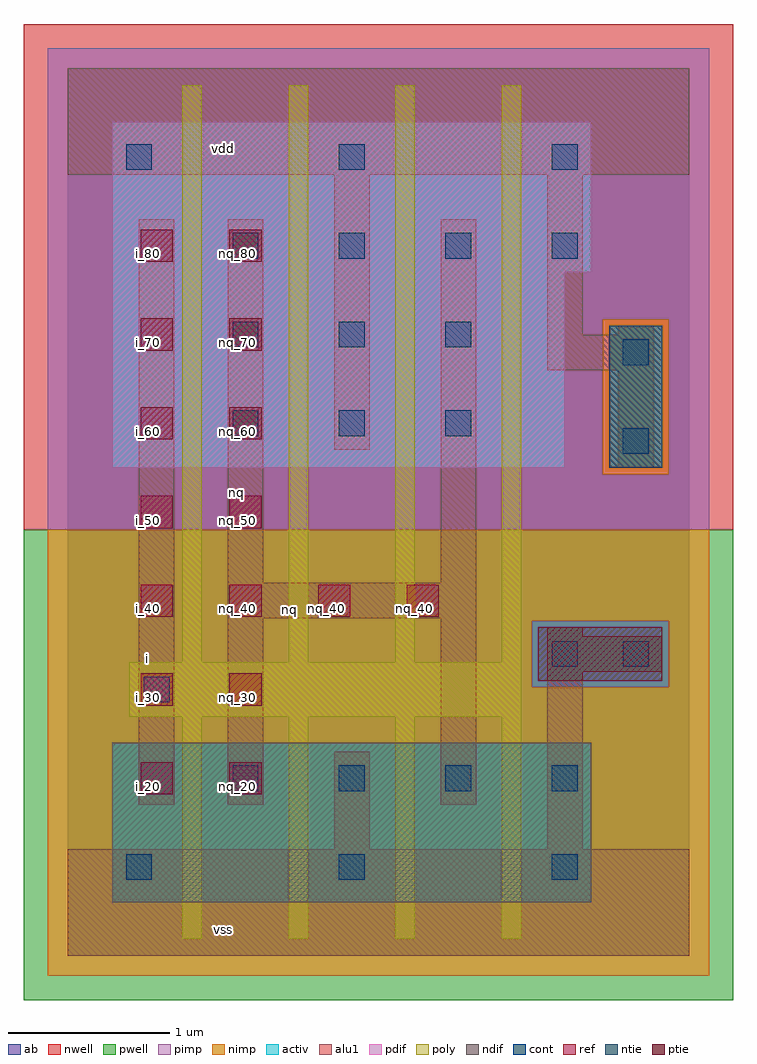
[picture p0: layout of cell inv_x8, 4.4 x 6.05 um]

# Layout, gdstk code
import gdstk
lib = gdstk.Library(unit=1e-6, precision=2.5e-09)
def R(c, l, rs):  # rectangles x0, y0, x1, y1
    for r in rs: c.add(gdstk.rectangle(r[:2], r[2:], *l))
def A(c, l, x, y, w, h, nx, ny, dx, dy):  # array of equal rectangles
    R(c, l, [(x+i*dx, y+j*dy, x+i*dx+w, y+j*dy+h) for i in range(nx) for j in range(ny)])
ndif = (3, 0)
pdif = (4, 0)
ntie = (5, 0)
ptie = (6, 0)
ref = (24, 0)
cont = (25, 0)
pwell = (41, 0)
nwell = (42, 0)
activ = (43, 0)
pimp = (44, 0)
nimp = (45, 0)
poly = (46, 0)
alu1 = (49, 0)
ab = (63, 0)

inv_x8 = lib.new_cell('inv_x8')
R(inv_x8, ndif, [(0.275,0.33,3.245,1.32)])
R(inv_x8, pdif, [(0.275,3.025,3.08,4.235), (0.275,4.235,3.245,5.17)])
R(inv_x8, ntie, [(3.355,3.025,3.685,3.905)])
R(inv_x8, ptie, [(2.915,1.705,3.685,2.035)])
A(inv_x8, ref, 0.45, 2.1, 0.2, 0.2, 4, 1, 0.55, 0)
A(inv_x8, ref, 0.45, 2.65, 0.2, 0.2, 1, 4, 0, 0.55)
A(inv_x8, ref, 1, 2.65, 0.2, 0.2, 1, 4, 0, 0.55)
R(inv_x8, ref, [(0.45,1,0.65,1.2), (1,1,1.2,1.2), (0.45,1.55,0.65,1.75), (1,1.55,1.2,1.75)])
A(inv_x8, cont, 0.36, 0.47, 0.16, 0.16, 3, 2, 1.32, 4.4)
A(inv_x8, cont, 1.02, 1.02, 0.16, 0.16, 4, 2, 0.66, 3.3)
A(inv_x8, cont, 1.02, 3.22, 0.16, 0.16, 3, 2, 0.66, 0.55)
R(inv_x8, cont, [(0.47,1.57,0.63,1.73), (3,1.79,3.16,1.95), (3.44,1.79,3.6,1.95), (3.44,3.11,3.6,3.27), (3.44,3.66,3.6,3.82)])
R(inv_x8, pwell, [(-0.275,-0.275,4.125,2.64)])
R(inv_x8, nwell, [(-0.275,2.64,4.125,5.775)])
R(inv_x8, activ, [(0.275,0.33,3.245,1.32), (2.915,1.705,3.685,2.035), (0.275,3.025,3.08,4.235), (3.355,3.025,3.685,3.905), (0.275,4.235,3.245,5.17)])
R(inv_x8, pimp, [(2.875,1.665,3.725,2.075), (-0.125,2.64,3.975,2.985), (-0.125,2.985,3.315,3.945), (3.725,2.985,3.975,3.945), (-0.125,3.945,3.975,5.625)])
R(inv_x8, nimp, [(-0.125,-0.125,3.975,1.665), (-0.125,1.665,2.875,2.075), (3.725,1.665,3.975,2.075), (-0.125,2.075,3.975,2.64), (3.315,2.985,3.725,3.945)])
A(inv_x8, poly, 0.71, 0.105, 0.12, 1.375, 4, 1, 0.66, 0)
A(inv_x8, poly, 0.71, 1.82, 0.12, 3.575, 4, 1, 0.66, 0)
R(inv_x8, poly, [(0.38,1.48,2.81,1.82)])
R(inv_x8, alu1, [(0,0,3.85,0.66), (1.65,0.66,1.87,1.265), (2.97,0.66,3.19,1.76), (0.44,0.935,0.66,4.565), (0.99,0.935,1.21,2.09), (2.31,0.935,2.53,2.09), (2.97,1.76,3.685,1.98), (2.97,1.98,3.19,2.035), (0.99,2.09,2.53,2.31), (0.99,2.31,1.21,4.565), (2.31,2.31,2.53,4.565), (3.41,3.025,3.63,3.63), (1.65,3.135,1.87,4.84), (2.97,3.63,3.63,3.85), (2.97,3.85,3.19,4.84), (3.41,3.85,3.63,3.905), (0,4.84,3.85,5.5)])
R(inv_x8, ab, [(0,0,3.85,5.5)])
inv_x8.add(gdstk.Label('vss', (0.9625,0.165), layer=49, texttype=0))
inv_x8.add(gdstk.Label('nq', (1.375,2.145), layer=49, texttype=0))
inv_x8.add(gdstk.Label('nq', (1.045,2.8725), layer=49, texttype=0))
inv_x8.add(gdstk.Label('i', (0.495,1.8425), layer=49, texttype=0))
inv_x8.add(gdstk.Label('vdd', (0.9625,5.005), layer=49, texttype=0))
inv_x8.add(gdstk.Label('nq_40', (1.6,2.15), layer=24, texttype=0))
inv_x8.add(gdstk.Label('nq_40', (2.15,2.15), layer=24, texttype=0))
inv_x8.add(gdstk.Label('nq_20', (1.05,1.05), layer=24, texttype=0))
inv_x8.add(gdstk.Label('nq_30', (1.05,1.6), layer=24, texttype=0))
inv_x8.add(gdstk.Label('nq_40', (1.05,2.15), layer=24, texttype=0))
inv_x8.add(gdstk.Label('nq_50', (1.05,2.7), layer=24, texttype=0))
inv_x8.add(gdstk.Label('nq_60', (1.05,3.25), layer=24, texttype=0))
inv_x8.add(gdstk.Label('nq_70', (1.05,3.8), layer=24, texttype=0))
inv_x8.add(gdstk.Label('nq_80', (1.05,4.35), layer=24, texttype=0))
inv_x8.add(gdstk.Label('i_20', (0.5,1.05), layer=24, texttype=0))
inv_x8.add(gdstk.Label('i_30', (0.5,1.6), layer=24, texttype=0))
inv_x8.add(gdstk.Label('i_40', (0.5,2.15), layer=24, texttype=0))
inv_x8.add(gdstk.Label('i_50', (0.5,2.7), layer=24, texttype=0))
inv_x8.add(gdstk.Label('i_60', (0.5,3.25), layer=24, texttype=0))
inv_x8.add(gdstk.Label('i_70', (0.5,3.8), layer=24, texttype=0))
inv_x8.add(gdstk.Label('i_80', (0.5,4.35), layer=24, texttype=0))

lib.write_gds('inv_x8.gds')
